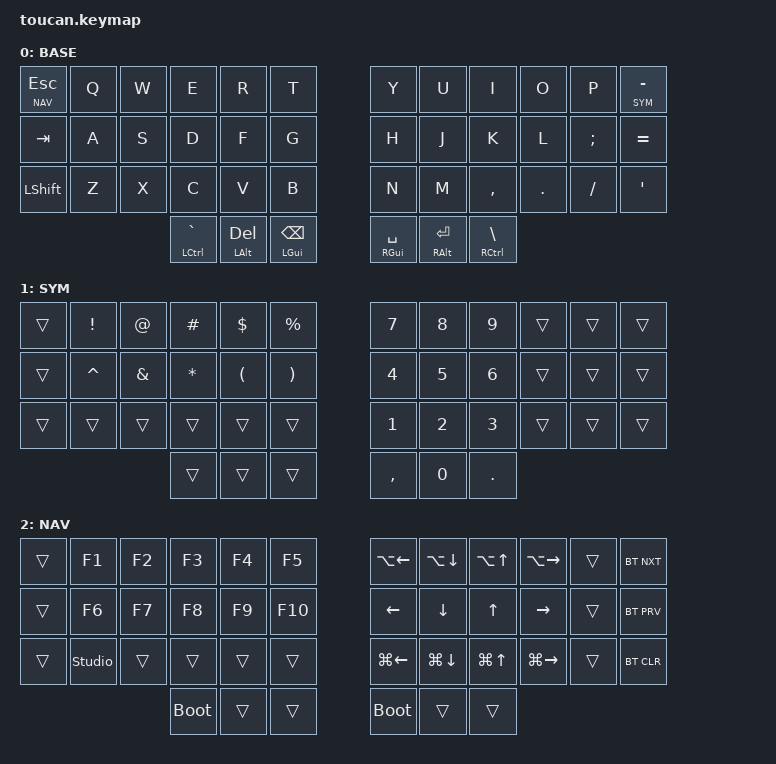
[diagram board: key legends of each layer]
/*
 * ZMK keymap for Toucan — port of timfee QMK userspace keymap.
 *
 * Behaviour notes:
 *   - Chordal hold: same-hand mod-tap chords always tap, cross-hand
 *     chords resolve via flavor + release order (mirrors the
 *     hold-trigger-key-positions Miryoku style).
 *   - Cross-hand fast-typing rolls (the QMK CHORDAL_CROSS_HAND_MS fix)
 *     are caught by require-prior-idle-ms: if anything was typed in
 *     the last 150 ms, the mod-tap taps regardless of hand.
 *   - Per-key tapping-term overrides for thumbs match the QMK values:
 *       GU_BSP=100, AL_DEL=130, AL_ENT=130, GU_SPC=150
 *       CT_GRV/CT_BSL/layer-taps fall back to the 200 ms default.
 */

#include <behaviors.dtsi>
#include <dt-bindings/zmk/keys.h>
#include <dt-bindings/zmk/bt.h>
#include <dt-bindings/zmk/outputs.h>

#define BASE 0
#define SYM  1
#define NAV  2

/*
 * Toucan key positions (4 rows × 12 cols, row 3 has only 6 thumb keys):
 *
 *   0  1  2  3  4  5      6  7  8  9 10 11
 *  12 13 14 15 16 17     18 19 20 21 22 23
 *  24 25 26 27 28 29     30 31 32 33 34 35
 *           36 37 38     39 40 41
 */
#define LH_KEYS  0  1  2  3  4  5 12 13 14 15 16 17 24 25 26 27 28 29 36 37 38
#define RH_KEYS  6  7  8  9 10 11 18 19 20 21 22 23 30 31 32 33 34 35 39 40 41

/ {
    behaviors {
        /* Left-hand mod-tap: hold only if a right-hand key follows. */
        lhm: left_hand_mod_tap {
            compatible = "zmk,behavior-hold-tap";
            #binding-cells = <2>;
            flavor = "balanced";
            tapping-term-ms = <200>;
            quick-tap-ms = <90>;
            require-prior-idle-ms = <150>;
            hold-trigger-key-positions = <RH_KEYS>;
            hold-trigger-on-release;
            bindings = <&kp>, <&kp>;
        };

        /* Right-hand mod-tap: hold only if a left-hand key follows. */
        rhm: right_hand_mod_tap {
            compatible = "zmk,behavior-hold-tap";
            #binding-cells = <2>;
            flavor = "balanced";
            tapping-term-ms = <200>;
            quick-tap-ms = <90>;
            require-prior-idle-ms = <150>;
            hold-trigger-key-positions = <LH_KEYS>;
            hold-trigger-on-release;
            bindings = <&kp>, <&kp>;
        };

        /* GU_BSP: matches GU_SPC tapping-term for symmetry. */
        lhm_bsp: left_hand_mt_bsp {
            compatible = "zmk,behavior-hold-tap";
            #binding-cells = <2>;
            flavor = "balanced";
            tapping-term-ms = <150>;
            quick-tap-ms = <90>;
            require-prior-idle-ms = <150>;
            hold-trigger-key-positions = <RH_KEYS>;
            hold-trigger-on-release;
            bindings = <&kp>, <&kp>;
        };

        /* AL_DEL / AL_ENT: tapping-term 130 ms. */
        lhm_alt: left_hand_mt_alt {
            compatible = "zmk,behavior-hold-tap";
            #binding-cells = <2>;
            flavor = "balanced";
            tapping-term-ms = <130>;
            quick-tap-ms = <90>;
            require-prior-idle-ms = <150>;
            hold-trigger-key-positions = <RH_KEYS>;
            hold-trigger-on-release;
            bindings = <&kp>, <&kp>;
        };

        rhm_alt: right_hand_mt_alt {
            compatible = "zmk,behavior-hold-tap";
            #binding-cells = <2>;
            flavor = "balanced";
            tapping-term-ms = <130>;
            quick-tap-ms = <90>;
            require-prior-idle-ms = <150>;
            hold-trigger-key-positions = <LH_KEYS>;
            hold-trigger-on-release;
            bindings = <&kp>, <&kp>;
        };

        /* GU_SPC: tapping-term 150 ms. */
        rhm_gui: right_hand_mt_gui {
            compatible = "zmk,behavior-hold-tap";
            #binding-cells = <2>;
            flavor = "balanced";
            tapping-term-ms = <150>;
            quick-tap-ms = <90>;
            require-prior-idle-ms = <150>;
            hold-trigger-key-positions = <LH_KEYS>;
            hold-trigger-on-release;
            bindings = <&kp>, <&kp>;
        };

        /*
         * Layer-taps: no hand restriction (in QMK these always
         * resolved as hold so the layer activated on same-hand keys).
         * Use hold-preferred so any other key during the term engages
         * the layer.
         */
        lt_any: layer_tap_any_hand {
            compatible = "zmk,behavior-hold-tap";
            #binding-cells = <2>;
            flavor = "hold-preferred";
            tapping-term-ms = <200>;
            quick-tap-ms = <90>;
            require-prior-idle-ms = <150>;
            bindings = <&mo>, <&kp>;
        };
    };

    combos {
        compatible = "zmk,combos";

        /* COMBO_TERM was 50 ms in QMK config.h. */
        combo_lparen { timeout-ms = <50>; key-positions = < 4  5>; bindings = <&kp LPAR>; layers = <BASE>; };
        combo_rparen { timeout-ms = <50>; key-positions = < 6  7>; bindings = <&kp RPAR>; layers = <BASE>; };
        combo_lbkt   { timeout-ms = <50>; key-positions = <16 17>; bindings = <&kp LBKT>; layers = <BASE>; };
        combo_rbkt   { timeout-ms = <50>; key-positions = <18 19>; bindings = <&kp RBKT>; layers = <BASE>; };
        combo_lbrace { timeout-ms = <50>; key-positions = <28 29>; bindings = <&kp LBRC>; layers = <BASE>; };
        combo_rbrace { timeout-ms = <50>; key-positions = <30 31>; bindings = <&kp RBRC>; layers = <BASE>; };
        combo_pipe   { timeout-ms = <50>; key-positions = <25 26>; bindings = <&kp PIPE>; layers = <BASE>; };
        combo_bslh   { timeout-ms = <50>; key-positions = <34 35>; bindings = <&kp BSLH>; layers = <BASE>; };

        /* Vertical column combos: top+mid = shifted digit, mid+bot = digit. */
        combo_excl   { timeout-ms = <50>; key-positions = < 1 13>; bindings = <&kp EXCL>;  layers = <BASE>; };
        combo_at     { timeout-ms = <50>; key-positions = < 2 14>; bindings = <&kp AT>;    layers = <BASE>; };
        combo_hash   { timeout-ms = <50>; key-positions = < 3 15>; bindings = <&kp HASH>;  layers = <BASE>; };
        combo_dllr   { timeout-ms = <50>; key-positions = < 4 16>; bindings = <&kp DLLR>;  layers = <BASE>; };
        combo_prcnt  { timeout-ms = <50>; key-positions = < 5 17>; bindings = <&kp PRCNT>; layers = <BASE>; };
        combo_n1     { timeout-ms = <50>; key-positions = <13 25>; bindings = <&kp N1>;    layers = <BASE>; };
        combo_n2     { timeout-ms = <50>; key-positions = <14 26>; bindings = <&kp N2>;    layers = <BASE>; };
        combo_n3     { timeout-ms = <50>; key-positions = <15 27>; bindings = <&kp N3>;    layers = <BASE>; };
        combo_n4     { timeout-ms = <50>; key-positions = <16 28>; bindings = <&kp N4>;    layers = <BASE>; };
        combo_n5     { timeout-ms = <50>; key-positions = <17 29>; bindings = <&kp N5>;    layers = <BASE>; };
        combo_caret  { timeout-ms = <50>; key-positions = < 6 18>; bindings = <&kp CARET>; layers = <BASE>; };
        combo_amps   { timeout-ms = <50>; key-positions = < 7 19>; bindings = <&kp AMPS>;  layers = <BASE>; };
        combo_astrk  { timeout-ms = <50>; key-positions = < 8 20>; bindings = <&kp ASTRK>; layers = <BASE>; };
        combo_lparv  { timeout-ms = <50>; key-positions = < 9 21>; bindings = <&kp LPAR>;  layers = <BASE>; };
        combo_rparv  { timeout-ms = <50>; key-positions = <10 22>; bindings = <&kp RPAR>;  layers = <BASE>; };
        combo_n6     { timeout-ms = <50>; key-positions = <18 30>; bindings = <&kp N6>;    layers = <BASE>; };
        combo_n7     { timeout-ms = <50>; key-positions = <19 31>; bindings = <&kp N7>;    layers = <BASE>; };
        combo_n8     { timeout-ms = <50>; key-positions = <20 32>; bindings = <&kp N8>;    layers = <BASE>; };
        combo_n9     { timeout-ms = <50>; key-positions = <21 33>; bindings = <&kp N9>;    layers = <BASE>; };
        combo_n0     { timeout-ms = <50>; key-positions = <22 34>; bindings = <&kp N0>;    layers = <BASE>; };
    };

    keymap {
        compatible = "zmk,keymap";

        base {
            display-name = "BASE";
            bindings = <
&lt_any NAV ESC  &kp Q  &kp W  &kp E  &kp R  &kp T          &kp Y  &kp U  &kp I      &kp O    &kp P     &lt_any SYM MINUS
&kp TAB          &kp A  &kp S  &kp D  &kp F  &kp G          &kp H  &kp J  &kp K      &kp L    &kp SEMI  &kp EQUAL
&kp LSHFT        &kp Z  &kp X  &kp C  &kp V  &kp B          &kp N  &kp M  &kp COMMA  &kp DOT  &kp FSLH  &kp SQT
                      &lhm LCTRL GRAVE  &lhm_alt LALT DEL  &lhm_bsp LGUI BSPC    &rhm_gui RGUI SPACE  &rhm_alt RALT RET  &rhm RCTRL BSLH
            >;
        };

        sym {
            display-name = "SYM";
            bindings = <
&trans  &kp EXCL   &kp AT     &kp HASH   &kp DLLR   &kp PRCNT     &kp N7    &kp N8  &kp N9    &trans  &trans  &trans
&trans  &kp CARET  &kp AMPS   &kp ASTRK  &kp LPAR   &kp RPAR      &kp N4    &kp N5  &kp N6    &trans  &trans  &trans
&trans  &trans     &trans     &trans     &trans     &trans        &kp N1    &kp N2  &kp N3    &trans  &trans  &trans
                          &trans     &trans     &trans            &kp COMMA &kp N0  &kp DOT
            >;
        };

        nav {
            display-name = "NAV";
            bindings = <
&trans      &kp F1  &kp F2  &kp F3  &kp F4  &kp F5      &kp LA(LEFT)  &kp LA(DOWN)  &kp LA(UP)  &kp LA(RIGHT)  &trans  &bt BT_NXT
&trans      &kp F6  &kp F7  &kp F8  &kp F9  &kp F10     &kp LEFT      &kp DOWN      &kp UP      &kp RIGHT      &trans  &bt BT_PRV
&trans      &studio_unlock  &trans  &trans  &trans  &trans      &kp LG(LEFT)  &kp LG(DOWN)  &kp LG(UP)  &kp LG(RIGHT)  &trans  &bt BT_CLR
                       &bootloader  &trans  &trans      &bootloader   &trans        &trans
            >;
        };

        extra_1 { status = "reserved"; };
        extra_2 { status = "reserved"; };
        extra_3 { status = "reserved"; };
    };
};
